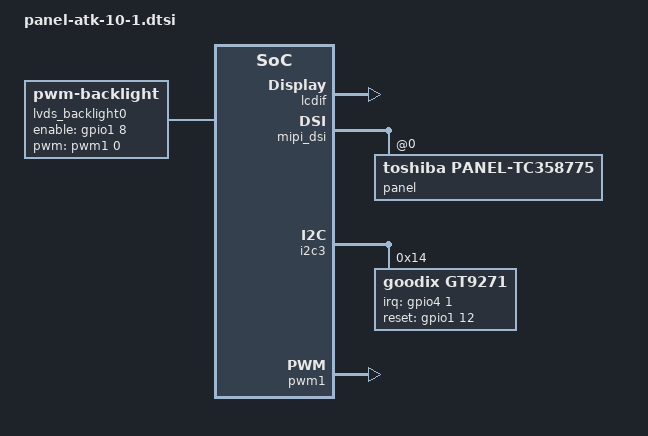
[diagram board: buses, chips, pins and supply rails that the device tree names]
/*
 * Copyright 2020 MYiR Devices
 */

/{
	lvds_backlight0: lvds_backlight@0 {
		compatible = "pwm-backlight";
		pwms = <&pwm1 0 1000000 >;  /*1KHZ*/
		enable-gpios = <&gpio1 8 GPIO_ACTIVE_HIGH>; 
		brightness-levels = <   0  1  2  3  4  5  6  7  8  9
								10 11 12 13 14 15 16 17 18 19
								20 21 22 23 24 25 26 27 28 29
								30 31 32 33 34 35 36 37 38 39
								40 41 42 43 44 45 46 47 48 49
								50 51 52 53 54 55 56 57 58 59
								60 61 62 63 64 65 66 67 68 69
								70 71 72 73 74 75 76 77 78 79
								80 81 82 83 84 85 86 87 88 89
								90 91 92 93 94 95 96 97 98 99
								100>;
		default-brightness-level = <80>;
	};
};

&lcdif{
    max-res = <1280>, <800>;
	status = "okay";
};

&mipi_dsi{
	status = "okay";
	panel@0 {
		compatible = "toshiba,panel-tc358775";
		reg = <0>;

		panel-width-mm = <230>;
		panel-height-mm = <150>;
		
		toshiba,debug = <0>;
		toshiba,ppi_tx_rx_ta =         <0x00030005>;
		toshiba,ppi_lptxtimecnt =      <0x00000003>;
		toshiba,ppi_d0s_clrsipocount = <0x00000004>;
		toshiba,ppi_d1s_clrsipocount = <0x00000004>;
		toshiba,ppi_d2s_clrsipocount = <0x00000004>;
		toshiba,ppi_d3s_clrsipocount = <0x00000004>;
		toshiba,ppi_laneenable =       <0x0000001f>; 
		toshiba,dsi_laneenable =       <0x0000001f>; 
		toshiba,ppi_sartppi =          <0x00000001>; 
		toshiba,dsi_sartppi =          <0x00000001>;
		
		toshiba,vpctrl =               <0x03F00100>; 
		toshiba,htim1 =                <0x003c0011>;
		toshiba,htim2 =                <0x003c0500>;
		toshiba,vtim1 =                <0x000A0003>;
		toshiba,vtim2 =                <0x000A0320>;
		toshiba,vfuen =                <0x00000001>;
		toshiba,lvphy0 =               <0x00448006>;
		toshiba,lvphy0_1 =             <0x00048006>;
		toshiba,sysrst =               <0x00000004>; 

		toshiba,lvmx0003 =             <0x03020100>;
		toshiba,lvmx0407 = 			   <0x08050704>;
		toshiba,lvmx0811 = 			   <0x0f0e0a09>;
		toshiba,lvmx1215 = 			   <0x100d0c0b>;
		toshiba,lvmx2023 = 			   <0x1b151413>;
		toshiba,lvmx2427 = 			   <0x061a1918>;
		toshiba,lvmx1619 = 			   <0x12111716>;
		toshiba,lvcfg =                <0x00000031>;
		
		//backlight = <&lvds_backlight0>;
		client-device  = <&tc358775>;
		display-timings {
				native-mode = <&timing0>;
				timing0:timing0{
					clock-frequency = <70000000>;
					hactive = <1280>;
					hsync-len = <17>;
					hback-porch = <60>;
					hfront-porch = <60>;
					vactive = <799>;
					vsync-len = <3>;
					vback-porch = <10>;
					vfront-porch = <10>;
					vsync-active = <0>;
					hsync-active =<0>;
					de-active =<0>;
					pixelclk-active =<0>;
				};
		};

	};
};

&iomuxc {
	imx8mm-evk {

		pinctrl_pwm1: lvds0pwm1grp {
			fsl,pins = <
				MX8MM_IOMUXC_GPIO1_IO01_PWM1_OUT 0x19
			>;
		};

		pinctrl_i2c_synaptics_dsx_io: synaptics_dsx_iogrp {
			fsl,pins = <
				MX8MM_IOMUXC_GPIO1_IO12_GPIO1_IO12      0x19
				MX8MM_IOMUXC_SAI1_RXC_GPIO4_IO1         0x19
			>;
		};

	};

};

&i2c3 {
	gt9271@14 {
		compatible = "goodix,gt9271";
		reg = <0x14>;
		pinctrl-names = "default";
		pinctrl-0 = <&pinctrl_i2c_synaptics_dsx_io>;

		interrupt-parent = <&gpio4>;
		interrupts = <1 IRQ_TYPE_EDGE_RISING>;  
		/*synaptics,y-rotation;*/
		esd-recovery-timeout-ms = <2000>;
		irq-gpios = <&gpio4 1 GPIO_ACTIVE_HIGH>;	
		reset-gpios = <&gpio1 12 GPIO_ACTIVE_HIGH>;
		status = "okay";
	};
};

&pwm1 {
	pinctrl-names = "default";
	pinctrl-0 = <&pinctrl_pwm1>;
	status = "okay";
};

